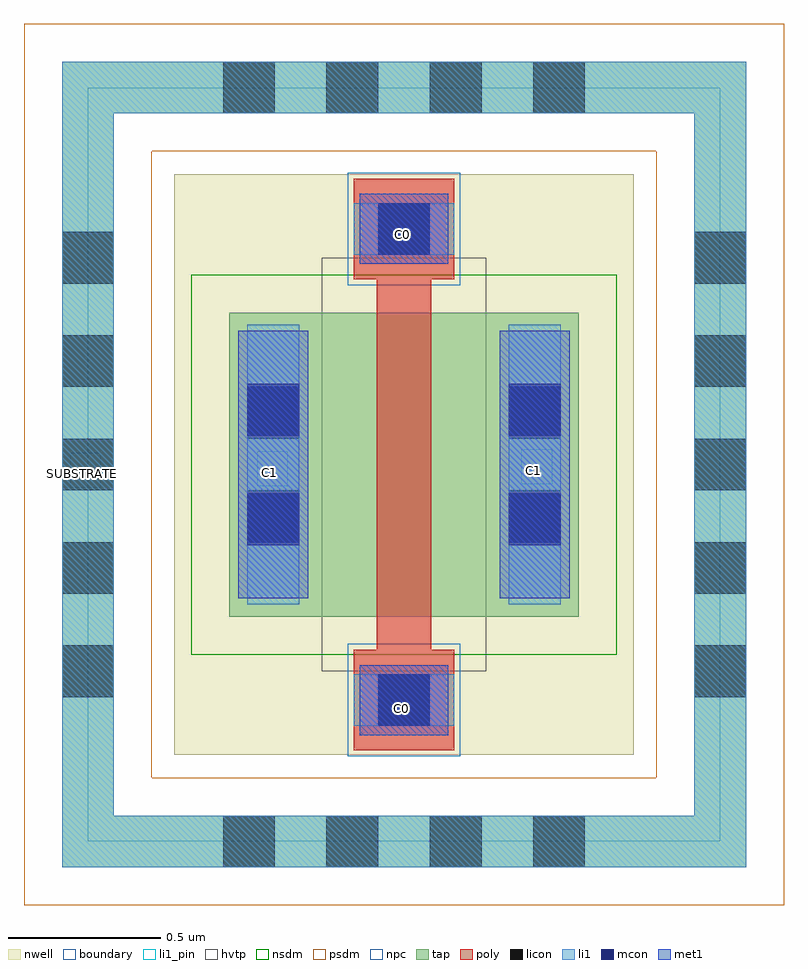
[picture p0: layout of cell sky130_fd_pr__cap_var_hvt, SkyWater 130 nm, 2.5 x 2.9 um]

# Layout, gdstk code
import gdstk
lib = gdstk.Library(unit=1e-6, precision=1e-09)
def R(c, l, rs):  # rectangles x0, y0, x1, y1
    for r in rs: c.add(gdstk.rectangle(r[:2], r[2:], *l))
def A(c, l, x, y, w, h, nx, ny, dx, dy):  # array of equal rectangles
    R(c, l, [(x+i*dx, y+j*dy, x+i*dx+w, y+j*dy+h) for i in range(nx) for j in range(ny)])
nwell = (64, 20)
tap = (65, 44)
poly = (66, 20)
licon = (66, 44)
li1_pin = (67, 16)
li1 = (67, 20)
mcon = (67, 44)
met1 = (68, 20)
hvtp = (78, 44)
nsdm = (93, 44)
psdm = (94, 20)
npc = (95, 20)
boundary = (235, 4)

sky130_fd_pr__cap_var_hv = lib.new_cell('sky130_fd_pr__cap_var_hvt')
R(sky130_fd_pr__cap_var_hv, nwell, [(-2.84,-2.845,-1.33,-0.935)])
R(sky130_fd_pr__cap_var_hv, tap, [(-3.21,-3.215,-0.96,-3.045), (-3.21,-3.045,-3.04,-0.735), (-1.13,-3.045,-0.96,-0.735), (-2.66,-2.39,-1.51,-1.39), (-3.21,-0.735,-0.96,-0.565)])
R(sky130_fd_pr__cap_var_hv, poly, [(-2.25,-2.83,-1.92,-2.5), (-2.175,-2.5,-1.995,-1.28), (-2.25,-1.28,-1.92,-0.95)])
A(sky130_fd_pr__cap_var_hv, licon, -2.68, -3.215, 0.17, 0.17, 4, 2, 0.34, 2.48)
A(sky130_fd_pr__cap_var_hv, licon, -3.21, -2.655, 0.17, 0.17, 1, 5, 0, 0.34)
A(sky130_fd_pr__cap_var_hv, licon, -1.13, -2.655, 0.17, 0.17, 1, 5, 0, 0.34)
R(sky130_fd_pr__cap_var_hv, licon, [(-2.17,-2.75,-2,-2.58), (-2.6,-2.145,-2.43,-1.975), (-1.74,-2.145,-1.57,-1.975), (-2.6,-1.805,-2.43,-1.635), (-1.74,-1.805,-1.57,-1.635), (-2.17,-1.2,-2,-1.03)])
R(sky130_fd_pr__cap_var_hv, li1_pin, [(-2.135,-2.738,-2.034,-2.623), (-3.183,-1.966,-3.082,-1.851), (-2.568,-1.962,-2.467,-1.847), (-1.699,-1.955,-1.598,-1.84), (-2.13,-1.178,-2.029,-1.063)])
R(sky130_fd_pr__cap_var_hv, li1, [(-3.21,-3.215,-0.96,-3.045), (-3.21,-3.045,-3.04,-0.735), (-1.13,-3.045,-0.96,-0.735), (-2.25,-2.75,-1.92,-2.58), (-2.6,-2.35,-2.43,-1.43), (-1.74,-2.35,-1.57,-1.43), (-2.25,-1.2,-1.92,-1.03), (-3.21,-0.735,-0.96,-0.565)])
R(sky130_fd_pr__cap_var_hv, mcon, [(-2.17,-2.75,-2,-2.58), (-2.6,-2.155,-2.43,-1.985), (-1.74,-2.155,-1.57,-1.985), (-2.6,-1.795,-2.43,-1.625), (-1.74,-1.795,-1.57,-1.625), (-2.17,-1.2,-2,-1.03)])
R(sky130_fd_pr__cap_var_hv, met1, [(-2.23,-2.78,-1.94,-2.55), (-2.63,-2.33,-2.4,-1.45), (-1.77,-2.33,-1.54,-1.45), (-2.23,-1.23,-1.94,-1)])
R(sky130_fd_pr__cap_var_hv, hvtp, [(-2.355,-2.57,-1.815,-1.21)])
R(sky130_fd_pr__cap_var_hv, nsdm, [(-2.785,-2.515,-1.385,-1.265)])
R(sky130_fd_pr__cap_var_hv, psdm, [(-3.335,-3.34,-0.835,-2.92), (-3.335,-2.92,-2.915,-0.86), (-1.255,-2.92,-0.835,-0.86), (-3.335,-0.86,-0.835,-0.44)])
R(sky130_fd_pr__cap_var_hv, npc, [(-2.27,-2.85,-1.9,-2.48), (-2.27,-1.3,-1.9,-0.93)])
R(sky130_fd_pr__cap_var_hv, boundary, [(-3.125,-3.13,-1.045,-0.65)])
sky130_fd_pr__cap_var_hv.add(gdstk.Label('C0', (-2.089,-1.132), layer=67, texttype=5))
sky130_fd_pr__cap_var_hv.add(gdstk.Label('SUBSTRATE', (-3.142,-1.92), layer=67, texttype=5))
sky130_fd_pr__cap_var_hv.add(gdstk.Label('C1', (-2.527,-1.916), layer=67, texttype=5))
sky130_fd_pr__cap_var_hv.add(gdstk.Label('C0', (-2.094,-2.692), layer=67, texttype=5))
sky130_fd_pr__cap_var_hv.add(gdstk.Label('C1', (-1.658,-1.909), layer=67, texttype=5))

lib.write_gds('sky130_fd_pr__cap_var_hvt.gds')
